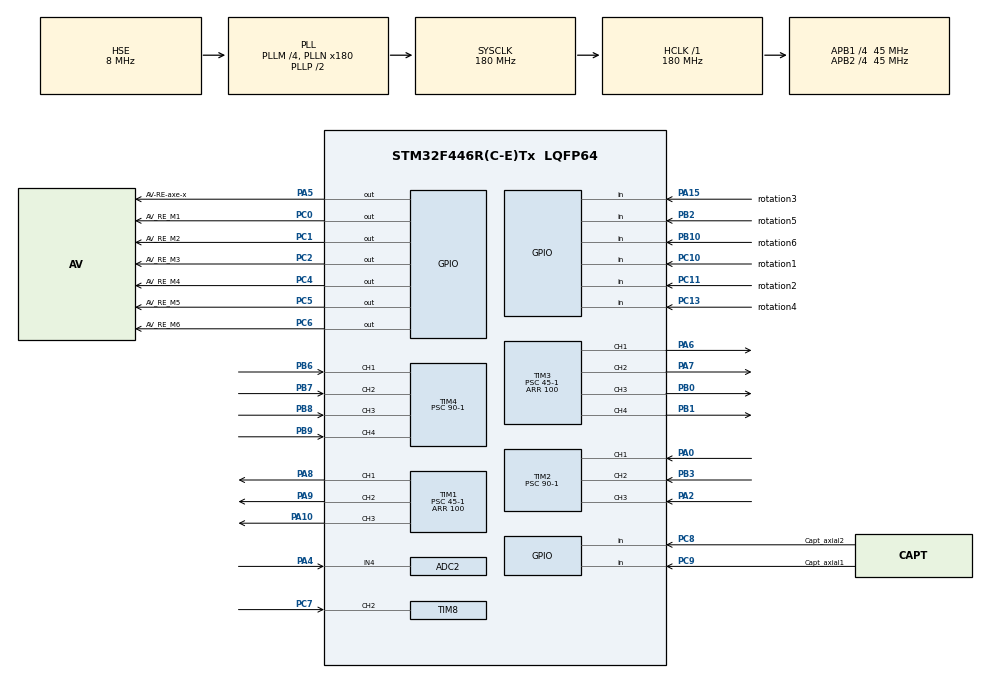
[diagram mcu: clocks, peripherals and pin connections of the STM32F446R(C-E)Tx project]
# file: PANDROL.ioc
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ADC2.Channel-5\#ChannelRegularConversion=ADC_CHANNEL_4
ADC2.ContinuousConvMode=ENABLE
ADC2.DMAContinuousRequests=ENABLE
ADC2.NbrOfConversionFlag=1
ADC2.Rank-5\#ChannelRegularConversion=1
ADC2.SamplingTime-5\#ChannelRegularConversion=ADC_SAMPLETIME_480CYCLES
Dma.ADC2.0.Direction=DMA_PERIPH_TO_MEMORY
Dma.ADC2.0.FIFOMode=DMA_FIFOMODE_DISABLE
Dma.ADC2.0.Instance=DMA2_Stream2
Dma.ADC2.0.MemDataAlignment=DMA_MDATAALIGN_WORD
Dma.ADC2.0.MemInc=DMA_MINC_ENABLE
Dma.ADC2.0.Mode=DMA_CIRCULAR
Dma.ADC2.0.PeriphDataAlignment=DMA_PDATAALIGN_WORD
Dma.ADC2.0.PeriphInc=DMA_PINC_DISABLE
Dma.ADC2.0.Priority=DMA_PRIORITY_LOW
Dma.Request0=ADC2
Mcu.Family=STM32F4
Mcu.Name=STM32F446R(C-E)Tx
Mcu.Package=LQFP64
NVIC.DMA2_Stream2_IRQn=true\:0\:0\:false\:false\:true\:false\:true\:true
NVIC.PriorityGroup=NVIC_PRIORITYGROUP_4
NVIC.TIM2_IRQn=true\:0\:0\:false\:false\:true\:true\:true\:true
NVIC.TIM4_IRQn=true\:0\:0\:false\:false\:true\:true\:true\:true
NVIC.TIM8_CC_IRQn=true\:0\:0\:false\:false\:true\:true\:true\:true
PA0-WKUP.GPIO_PuPd=GPIO_PULLDOWN
PA0-WKUP.GPIO_Speed=GPIO_SPEED_FREQ_HIGH
PA0-WKUP.Signal=S_TIM2_CH1_ETR
PA10.GPIO_PuPd=GPIO_PULLDOWN
PA10.GPIO_Speed=GPIO_SPEED_FREQ_HIGH
PA10.Signal=S_TIM1_CH3
PA15.GPIO_Label=rotation3
PA15.Signal=GPIO_Input
PA2.Signal=S_TIM2_CH3
PA4.Signal=ADCx_IN4
PA5.GPIO_Label=AV-RE-axe-x
PA5.GPIO_Speed=GPIO_SPEED_FREQ_HIGH
PA5.Signal=GPIO_Output
PA6.GPIO_PuPd=GPIO_PULLDOWN
PA6.GPIO_Speed=GPIO_SPEED_FREQ_HIGH
PA6.Signal=S_TIM3_CH1
PA7.GPIO_PuPd=GPIO_PULLDOWN
PA7.GPIO_Speed=GPIO_SPEED_FREQ_HIGH
PA7.Signal=S_TIM3_CH2
PA8.GPIO_PuPd=GPIO_PULLDOWN
PA8.GPIO_Speed=GPIO_SPEED_FREQ_HIGH
PA8.Signal=S_TIM1_CH1
PA9.GPIO_PuPd=GPIO_PULLDOWN
PA9.GPIO_Speed=GPIO_SPEED_FREQ_HIGH
PA9.Signal=S_TIM1_CH2
PB0.GPIO_PuPd=GPIO_PULLDOWN
PB0.GPIO_Speed=GPIO_SPEED_FREQ_HIGH
PB0.Signal=S_TIM3_CH3
PB1.GPIO_PuPd=GPIO_PULLDOWN
PB1.GPIO_Speed=GPIO_SPEED_FREQ_HIGH
PB1.Signal=S_TIM3_CH4
PB10.GPIO_Label=rotation6
PB10.Signal=GPIO_Input
PB2.GPIO_Label=rotation5
PB2.Signal=GPIO_Input
PB3.Signal=S_TIM2_CH2
PB6.GPIO_PuPd=GPIO_PULLDOWN
PB6.GPIO_Speed=GPIO_SPEED_FREQ_HIGH
PB6.Signal=S_TIM4_CH1
PB7.GPIO_PuPd=GPIO_PULLDOWN
PB7.GPIO_Speed=GPIO_SPEED_FREQ_HIGH
PB7.Signal=S_TIM4_CH2
PB8.GPIO_PuPd=GPIO_PULLDOWN
PB8.GPIO_Speed=GPIO_SPEED_FREQ_HIGH
PB8.Signal=S_TIM4_CH3
PB9.GPIO_PuPd=GPIO_PULLDOWN
PB9.GPIO_Speed=GPIO_SPEED_FREQ_HIGH
PB9.Signal=S_TIM4_CH4
PC0.GPIO_Label=AV_RE_M1
PC0.GPIO_Speed=GPIO_SPEED_FREQ_HIGH
PC0.Signal=GPIO_Output
PC1.GPIO_Label=AV_RE_M2
PC1.GPIO_Speed=GPIO_SPEED_FREQ_HIGH
PC1.Signal=GPIO_Output
PC10.GPIO_Label=rotation1
PC10.Signal=GPIO_Input
PC11.GPIO_Label=rotation2
PC11.Signal=GPIO_Input
PC13.GPIO_Label=rotation4
PC13.Signal=GPIO_Input
PC2.GPIO_Label=AV_RE_M3
PC2.GPIO_Speed=GPIO_SPEED_FREQ_HIGH
PC2.Signal=GPIO_Output
PC4.GPIO_Label=AV_RE_M4
PC4.GPIO_Speed=GPIO_SPEED_FREQ_HIGH
PC4.Signal=GPIO_Output
PC5.GPIO_Label=AV_RE_M5
PC5.GPIO_Speed=GPIO_SPEED_FREQ_HIGH
PC5.Signal=GPIO_Output
PC6.GPIO_Label=AV_RE_M6
PC6.GPIO_Speed=GPIO_SPEED_FREQ_HIGH
PC6.Signal=GPIO_Output
PC7.GPIO_PuPd=GPIO_PULLDOWN
PC7.GPIO_Speed=GPIO_SPEED_FREQ_HIGH
PC7.Signal=S_TIM8_CH2
PC8.GPIO_Label=Capt_axial2
PC8.Signal=GPIO_Input
PC9.GPIO_Label=Capt_axial1
PC9.Signal=GPIO_Input
PH0-OSC_IN.Mode=HSE-External-Oscillator
PH0-OSC_IN.Signal=RCC_OSC_IN
PH1-OSC_OUT.Mode=HSE-External-Oscillator
PH1-OSC_OUT.Signal=RCC_OSC_OUT
ProjectManager.HeapSize=0x200
ProjectManager.StackSize=0x400
ProjectManager.TargetToolchain=STM32CubeIDE
RCC.AHBFreq_Value=180000000
RCC.APB1CLKDivider=RCC_HCLK_DIV4
RCC.APB1Freq_Value=45000000
RCC.APB1TimFreq_Value=90000000
RCC.APB2CLKDivider=RCC_HCLK_DIV4
RCC.APB2Freq_Value=45000000
RCC.APB2TimFreq_Value=90000000
RCC.CortexFreq_Value=180000000
RCC.HCLKFreq_Value=180000000
RCC.HSE_VALUE=8000000
RCC.PLLM=4
RCC.PLLN=180
RCC.PLLSourceVirtual=RCC_PLLSOURCE_HSE
RCC.SYSCLKFreq_VALUE=180000000
RCC.SYSCLKSource=RCC_SYSCLKSOURCE_PLLCLK
RCC.USBFreq_Value=180000000
RCC.VCOOutputFreq_Value=360000000
SH.ADCx_IN4.0=ADC2_IN4,IN4
SH.S_TIM1_CH1.0=TIM1_CH1,PWM Generation1 CH1
SH.S_TIM1_CH2.0=TIM1_CH2,PWM Generation2 CH2
SH.S_TIM1_CH3.0=TIM1_CH3,PWM Generation3 CH3
SH.S_TIM2_CH1_ETR.0=TIM2_CH1,Input_Capture1_from_TI1
SH.S_TIM2_CH2.0=TIM2_CH2,Input_Capture2_from_TI2
SH.S_TIM2_CH3.0=TIM2_CH3,Input_Capture3_from_TI3
SH.S_TIM3_CH1.0=TIM3_CH1,PWM Generation1 CH1
SH.S_TIM3_CH2.0=TIM3_CH2,PWM Generation2 CH2
SH.S_TIM3_CH3.0=TIM3_CH3,PWM Generation3 CH3
SH.S_TIM3_CH4.0=TIM3_CH4,PWM Generation4 CH4
SH.S_TIM4_CH1.0=TIM4_CH1,Input_Capture1_from_TI1
SH.S_TIM4_CH2.0=TIM4_CH2,Input_Capture2_from_TI2
SH.S_TIM4_CH3.0=TIM4_CH3,Input_Capture3_from_TI3
SH.S_TIM4_CH4.0=TIM4_CH4,Input_Capture4_from_TI4
SH.S_TIM8_CH2.0=TIM8_CH2,Input_Capture2_from_TI2
TIM1.Channel-PWM\ Generation1\ CH1=TIM_CHANNEL_1
TIM1.Channel-PWM\ Generation2\ CH2=TIM_CHANNEL_2
TIM1.Channel-PWM\ Generation3\ CH3=TIM_CHANNEL_3
TIM1.Period=100
TIM1.Prescaler=45-1
TIM2.Channel-Input_Capture1_from_TI1=TIM_CHANNEL_1
TIM2.Channel-Input_Capture2_from_TI2=TIM_CHANNEL_2
TIM2.Channel-Input_Capture3_from_TI3=TIM_CHANNEL_3
TIM2.ClockDivision=TIM_CLOCKDIVISION_DIV2
TIM2.ICFilter_CH1=15
TIM2.ICFilter_CH2=15
TIM2.ICFilter_CH3=15
TIM2.ICPrescaler-Input_Capture1_from_TI1=TIM_ICPSC_DIV1
TIM2.Prescaler=90-1
TIM3.Channel-PWM\ Generation1\ CH1=TIM_CHANNEL_1
TIM3.Channel-PWM\ Generation2\ CH2=TIM_CHANNEL_2
TIM3.Channel-PWM\ Generation3\ CH3=TIM_CHANNEL_3
TIM3.Channel-PWM\ Generation4\ CH4=TIM_CHANNEL_4
TIM3.Period=100
TIM3.Prescaler=45-1
TIM4.Channel-Input_Capture1_from_TI1=TIM_CHANNEL_1
TIM4.Channel-Input_Capture2_from_TI2=TIM_CHANNEL_2
TIM4.Channel-Input_Capture3_from_TI3=TIM_CHANNEL_3
TIM4.Channel-Input_Capture4_from_TI4=TIM_CHANNEL_4
TIM4.ClockDivision=TIM_CLOCKDIVISION_DIV2
TIM4.ICFilter_CH1=15
TIM4.ICFilter_CH2=15
TIM4.ICFilter_CH3=15
TIM4.ICFilter_CH4=15
TIM4.Prescaler=90-1
TIM8.Channel-Input_Capture2_from_TI2=TIM_CHANNEL_2
TIM8.ClockDivision=TIM_CLOCKDIVISION_DIV2
TIM8.ICFilter_CH2=15
TIM8.Prescaler=90-1
VP_TIM1_VS_ClockSourceINT.Mode=Internal
VP_TIM3_VS_ClockSourceINT.Mode=Internal
board=custom

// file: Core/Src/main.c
/* USER CODE BEGIN Header */
/**
  ******************************************************************************
  * @file           : main.c
  * @brief          : Main program body
  ******************************************************************************
  * @attention
  *
  * Copyright (c) 2023 STMicroelectronics.
  * All rights reserved.
  *
  * This software is licensed under terms that can be found in the LICENSE file
  * in the root directory of this software component.
  * If no LICENSE file comes with this software, it is provided AS-IS.
  *
  ******************************************************************************
  */
/* USER CODE END Header */
#include "main.h"
#include "adc.h"
#include "dma.h"
#include "tim.h"
#include "gpio.h"

/* USER CODE BEGIN Includes */
#include "asservissement.h"
#include "interruption.h"
#include "math.h"
#include "stdlib.h"
#include "stdio.h"
/* USER CODE END Includes */

/* USER CODE BEGIN PD */

#define frequencyM1     1000/(periodMotor1)    // FREQUENCE DU L ENCODEUR 1
#define frequencyM2     1000/(periodMotor2)    // FREQUENCE DU L ENCODEUR 2
#define frequencyM3     1000/(periodMotor3)    // FREQUENCE DU L ENCODEUR 3
#define frequencyM4     1000/(periodMotor4)    // FREQUENCE DU L ENCODEUR 4
#define frequencyM5     1000/(periodMotor5)    // FREQUENCE DU L ENCODEUR 5
#define frequencyM6     1000/(periodMotor6)    // FREQUENCE DU L ENCODEUR 6
#define   Vmax           30
#define   Vmin           17

/* USER CODE END PD */

void SystemClock_Config(void);
/* USER CODE BEGIN PFP */
void moveTo( double pos1,double pos2,double pos3);                  // FONCTION POUR AVANCER ET RECULER LES VERINS
void roundpulse(double *C1,double *C2,double *C3);                // ROUND DES COURSES
void convert_Frompolar_Tocourse(double x, double y, double alpha);//COORDONNEE POLAIRE TO COURSE
void Commander_Moteuraxial();               // MOUVEMENT AXIAL DU MOTEUR SELON LES DEUX CAPTEUR
void ConvertMM_topulse(double *C1,double *C2,double *C3);
void determinerVecteurTEMPS( double *pos11,double *pos22,double *pos33 );
void zerodefine();
void Position_Zero(double pos3);
//definitions des vitesses exp speedMotor1-->vitesse du moteur 1
float speedMotor1=0;
float speedMotor2=0;
float speedMotor3=0;
float speedMotor4=0;
float speedMotor5=0;
float speedMotor6=0;
float vitesseRef1 =20  ;            // VITESSE DE REFERNCE POUR L ASSERVISSEMENT 90
float vitesseRef3 =25;
float vitesseRef2 =20;
//definitions des periodes entre deux fronts montant periodMotor1
uint16_t periodMotor1=0;
uint16_t periodMotor2=0;
uint16_t periodMotor3=0;
uint16_t periodMotor4=0;
uint16_t periodMotor5=0;
uint16_t periodMotor6=0;

/* USER CODE END 0 */
volatile float Is_First_Captured1=0;// VARIABLE POUR TESTER SILE FRONT MONTANT DU L ENCODEUR 1 EST DETECTE
volatile float Is_First_Captured2=0;// VARIABLE POUR TESTER SILE FRONT MONTANT DU L ENCODEUR 2 EST DETECTE
volatile float Is_First_Captured3=0;// VARIABLE POUR TESTER SILE FRONT MONTANT DU L ENCODEUR 3 EST DETECTE
volatile float Is_First_Captured4=0;// VARIABLE POUR TESTER SILE FRONT MONTANT DU L ENCODEUR 4 EST DETECTE
volatile float Is_First_Captured5=0;// VARIABLE POUR TESTER SILE FRONT MONTANT DU L ENCODEUR 5 EST DETECTE
volatile float Is_First_Captured6=0;// VARIABLE POUR TESTER SILE FRONT MONTANT DU L ENCODEUR 6 EST DETECTE

volatile int IC1_Val1=0;        //VARIABLE POUR STOCKER LA VALEUR DU  FRONT MONTANT DU L ENCODEUR 1
volatile int IC2_Val1=0;        //VARIABLE POUR STOCKER LA VALEUR DU  FRONT MONTANT DU L ENCODEUR 2
volatile int IC3_Val1=0;        //VARIABLE POUR STOCKER LA VALEUR DU  FRONT MONTANT DU L ENCODEUR 3
volatile int IC4_Val1=0;        //VARIABLE POUR STOCKER LA VALEUR DU  FRONT MONTANT DU L ENCODEUR 4
volatile int IC5_Val1=0;        //VARIABLE POUR STOCKER LA VALEUR DU  FRONT MONTANT DU L ENCODEUR 5
volatile int IC6_Val1=0;        //VARIABLE POUR STOCKER LA VALEUR DU  FRONT MONTANT DU L ENCODEUR 6

uint32_t readValue;
uint32_t temp;

int CountM1=0;      // NOMBRE D IMPULSION ENCODEUR 1
int CountM2=0;      // NOMBRE D IMPULSION ENCODEUR 2
int CountM3=0;      // NOMBRE D IMPULSION ENCODEUR 3
int CountM4=0;      // NOMBRE D IMPULSION ENCODEUR 4
int CountM5=0;      // NOMBRE D IMPULSION ENCODEUR 5
int CountM6=0;      // NOMBRE D IMPULSION ENCODEUR 6
int COUNTR1=0;
int COUNTR2=0;

char data,data1;
int flag=0;
char dta='k'; // A ENVOYER VER LE PC POUR CONNECTER A PRONTERFACE
const float PI=3.141593;
double pos1;
double pos2;
double pos3;
// Global variable to store the previous CountM1 value
float t1;
float t2;
float t3;
float resultats;
double poszero1;
double poszero2;
double poszero3;
char tab[16]={};
float c=3;
float current;
float sensitivity =0.066;
uint32_t moyenne = 0;
/* USER CODE END PFP */

/* USER CODE BEGIN 0 */

void HAL_TIM_IC_CaptureCallback(TIM_HandleTypeDef *htim)
{
	  if(htim->Instance==TIM2)
	  {
		  if(htim->Channel == HAL_TIM_ACTIVE_CHANNEL_1)// MOTEUR 1

		  	{
			    Interruption_1();
                // CountM1++;

				if (Is_First_Captured1 == 0)
					{

					  IC1_Val1=HAL_GetTick();
					  Is_First_Captured1++;

					}
		  		else if (Is_First_Captured1 == 1)
					{
					  periodMotor1 = HAL_GetTick()-IC1_Val1;//periode1
					  if(periodMotor1!=0)
					  {
					    speedMotor1 = frequencyM1;

					  }
					  Is_First_Captured1 = 0;

					}

		  	}if(htim->Channel == HAL_TIM_ACTIVE_CHANNEL_2)// ROULEAU1 PB3

		  	     {
		  		COUNTR1++;
                 }
		  	if(htim->Channel == HAL_TIM_ACTIVE_CHANNEL_3)// ROULEAU2 PA2

     		    	{
                	 COUNTR2++;

                      }

	  }

		  if(htim->Instance==TIM8)
		 	 {
		             if(htim->Channel == HAL_TIM_ACTIVE_CHANNEL_2)// MOTEUR 2

		  	            {
						 Initerruption_2();
		            	 //CountM2+=1;

						  if (Is_First_Captured2 == 0)
							{
								IC2_Val1=HAL_GetTick();
								Is_First_Captured2++;
							}
							else if (Is_First_Captured2 == 1)
							{
								periodMotor2 = HAL_GetTick()-IC2_Val1;//periode1
								if(periodMotor2!=0)
								{
								speedMotor2 = frequencyM2;
								}

								Is_First_Captured2 = 0;

							}

						  }

	                }

	  if(htim->Instance==TIM4)

	  {

            if(htim->Channel == HAL_TIM_ACTIVE_CHANNEL_1)	//MOTEUR3

				{
				Interruption_3();
  	 //CountM3++;

					if (Is_First_Captured3 == 0)
						{
							IC3_Val1=HAL_GetTick();
							Is_First_Captured3++;
						}
					else if (Is_First_Captured3 == 1)
						{
							periodMotor3 = HAL_GetTick()-IC3_Val1;//periode1
							if(periodMotor3!=0)
							{
							  speedMotor3 = frequencyM3;
							}
							Is_First_Captured3 = 0;

						}

				}

	  		if(htim->Channel==HAL_TIM_ACTIVE_CHANNEL_2)//MOTEUR4
	  			  {
	  			     Interruption_4();
	  			//CountM4++;

					   if (Is_First_Captured4 == 0)
						   {
								IC4_Val1=HAL_GetTick();
								//timestamp1C1 = HAL_GetTick();
								Is_First_Captured4++;
						   }
						else if (Is_First_Captured4== 1)
							{
								periodMotor4 = HAL_GetTick()-IC4_Val1;//periode1periode1*0.5 both edge
							    if(periodMotor4!=0)
							    {
								  speedMotor4 = frequencyM4;
								}
								Is_First_Captured4 = 0;

							}

					}

	  		if(htim->Channel==HAL_TIM_ACTIVE_CHANNEL_3)//MOTEUR5
				{
				     Interruption_5();
	  			 //CountM5++;

					 if (Is_First_Captured5 == 0)
						{
							IC5_Val1=HAL_GetTick();
							//timestamp1C1 = HAL_GetTick();
							Is_First_Captured5++;
						}
					 else if (Is_First_Captured5== 1)
						{
							periodMotor5 = HAL_GetTick()-IC5_Val1;//periode1
							if(periodMotor5!=0)
							{
							  speedMotor5 = frequencyM5;
							}
							Is_First_Captured5 = 0;

						}

				}
	  		if(htim->Channel==HAL_TIM_ACTIVE_CHANNEL_4)//MOTEUR6
				{
					Interruption_6();
	  			//  CountM6++;

					if (Is_First_Captured6 == 0)
					{
						IC6_Val1=HAL_GetTick();
						//timestamp1C1 = HAL_GetTick();
						Is_First_Captured6++;
					}
					else if (Is_First_Captured6== 1)
						{
							periodMotor6 = HAL_GetTick()-IC6_Val1;//periode1periode1*0.5 both edge
						    if(periodMotor6!=0)
						    {
							  speedMotor6 =frequencyM6;
						    }
							Is_First_Captured6 = 0;

						}

	  			 }

	  	}

}

void HAL_ADC_ConvCpltCallback(ADC_HandleTypeDef* hadc)
{
	 if (hadc->Instance == ADC2)
	  {

		 //valeurACS712();
      //current=readValue *3.30/ 4095;
		 current = (( readValue*3.30/ 4095)-1.63)/0.066;
		  if(current < 0) current=-current;

		 //c =abs(rawVoltage - 1.63)/0.066;

	  }

}

void roundpulse(double *C1,double *C2,double *C3)
{
	*C1=round(*C1);
	*C2=round(*C2);
	*C3=round(*C3);
}
void ConvertMM_topulse(double *C1,double *C2,double *C3)
{
	*C1=(*C1)*12.50;
	*C2=(*C2)*12.50;
	*C3=(*C3)*9.50;

}
void determinerVecteurTEMPS( double *pos11,double *pos22,double *pos33 ) {

t1=*pos11/vitesseRef1;

t2=*pos22/vitesseRef2;

t3=*pos33/vitesseRef3;
resultats= (t2+t3+t1)/3;
    }
///////////////////////////////////////////////////////////////////////////////////////////
void moveTo( double x,double y,double alpha ){

vitesseRef1=20;
vitesseRef2=20;
vitesseRef3=20;
poszero1=pos1;
poszero2=pos2;
poszero3=pos3;

convert_Frompolar_Tocourse(x, y, alpha);//retourner pos1 POS2 POS3 en mm

if ((pos1 == 0 && pos3 == 0) && pos2 == 0) {
    vitesseRef1 = ceil(poszero1 / resultats);
    vitesseRef2 = ceil(poszero2 / resultats);
    vitesseRef3 = ceil(poszero3 / resultats);
} else {
    ConvertMM_topulse(&pos1, &pos2, &pos3);
    roundpulse(&pos1, &pos2, &pos3);
    determinerVecteurTEMPS(&pos1, &pos2, &pos3);

    vitesseRef1 = ceil(pos1 / resultats);
    vitesseRef2 = ceil(pos2 / resultats);
    vitesseRef3 = ceil(pos3 / resultats);
}

vitesseRef1 = (vitesseRef1 > Vmax) ? Vmax : (vitesseRef1 < Vmin) ? Vmin : vitesseRef1;
vitesseRef2 = (vitesseRef2 > Vmax) ? Vmax : (vitesseRef2 < Vmin) ? Vmin : vitesseRef2;
vitesseRef3 = (vitesseRef3 > Vmax) ? Vmax : (vitesseRef3 < Vmin) ? Vmin : vitesseRef3;

////////////////////////////////////////
while (( (pos2>CountM1)||(pos2>CountM2)||(pos2-CountM1<0)||(pos2-CountM2<0) ||
		(pos1>CountM3)||(pos1>CountM4)||(pos1-CountM3<0)||(pos1-CountM4<0) ||
		(pos3>CountM5)||(pos3>CountM6)||(pos3-CountM5<0)||(pos3-CountM6<0) ))

{
	 //////////////////////////////////////////////////////////MOTEUR1

		 if  ( pos2 -CountM1>0)//>=0.4
		   {

			 HAL_GPIO_WritePin(GPIOC,  AV_RE_M1_Pin, RESET);
			  Regulation_Mt1(speedMotor1, speedMotor2, vitesseRef2, 21);

		   }

		  else if (( pos2 - CountM1   )<0   )//<=-0.5
				{

			  HAL_GPIO_WritePin(GPIOC,  AV_RE_M1_Pin, SET);

			Regulation_Mt1(speedMotor1, speedMotor2, vitesseRef2, 21);

				}

		  else
			{
			  TIM1->CCR1=0;

			}

	///////////////////////////////////////////////////MOTEUR2

		if  (pos2- CountM2>0 )//>=0.4
		   {

			HAL_GPIO_WritePin(GPIOC,  AV_RE_M2_Pin, RESET);
		    Regulation_Mt2(speedMotor2, speedMotor1,vitesseRef2, 21);

		   }else if (( pos2 - CountM2   )<0   )//<=-0.5
				{

			   HAL_GPIO_WritePin(GPIOC,  AV_RE_M2_Pin, SET);

				Regulation_Mt2(speedMotor2, speedMotor1,vitesseRef2, 21);

			    }
		   else
			    {
				 TIM1->CCR2=0;

			    }

	///////////////////////////////////////////////////////////MOTEUR3

			if (pos1 - CountM3 > 0)
			  {

				HAL_GPIO_WritePin(GPIOC, AV_RE_M3_Pin, RESET);

				Regulation_Mt3(  speedMotor3,   speedMotor4, vitesseRef1, 21);
				  //TIM1->CCR3=80;
			   } else if (pos1 - CountM3 < 0)
					   {

				   HAL_GPIO_WritePin(GPIOC, AV_RE_M3_Pin, SET);
				  Regulation_Mt3(  speedMotor3, speedMotor4, vitesseRef1, 21);

			   } else {

				   TIM1->CCR3 = 0;
			   }
/////////////////////////////////////////////////////////////////////////////////MT4

		   if (pos1 - CountM4 > 0)
		   {

			  HAL_GPIO_WritePin(GPIOC, AV_RE_M4_Pin, RESET);

			 Regulation_Mt4(speedMotor4, speedMotor3, vitesseRef1, 21);

		   }
		   else if (pos1 - CountM4 < 0)
		   {

			  HAL_GPIO_WritePin(GPIOC, AV_RE_M4_Pin, SET);

			  Regulation_Mt4(speedMotor4, speedMotor3, vitesseRef1, 21);

		   } else
		   {
			   TIM3->CCR1 = 0;
		   }

	///////////////////////////////////////////////////MOTEUR5

	if (pos3 - CountM5 > 0) {

		HAL_GPIO_WritePin(GPIOC, AV_RE_M5_Pin, RESET);

		  Regulation_Mt5(speedMotor5, speedMotor6, vitesseRef3, 21);

	    } else if (pos3 - CountM5 < 0) {

	    	  HAL_GPIO_WritePin(GPIOC, AV_RE_M5_Pin, SET);
			  Regulation_Mt5(speedMotor5, speedMotor6, vitesseRef3, 21);

	    } else {
	        TIM3->CCR2 = 0;
	    }

////////////////////////////////////////////////////////////////////MT6
	    if (pos3 - CountM6 > 0) {

	    	HAL_GPIO_WritePin(GPIOC, AV_RE_M6_Pin, RESET);
			Regulation_Mt6(speedMotor6, speedMotor5, vitesseRef3, 21);

	    }
	    else if (pos3 - CountM6 < 0)
	    {

	      HAL_GPIO_WritePin(GPIOC, AV_RE_M6_Pin, SET);
		  Regulation_Mt6(speedMotor6, speedMotor5, vitesseRef3, 21);

	    } else
	    {
	        TIM3->CCR3 = 0;
	    }

}
////////////////////////////////////////////////////////////////////////////
   TIM1->CCR1 = (pos2 - CountM1 == 0) ? 0 : TIM1->CCR1;
   TIM1->CCR2 = (pos2 - CountM2 == 0) ? 0 : TIM1->CCR2;

	 			if  (( pos1  -CountM3  )==0 )
				   {
					  TIM1->CCR3=0;

				   }
				if  (( pos1  -CountM4 )==0 )
				   {
					TIM3->CCR1 =0;

					}
				if  (( pos3  -CountM5  )==0 )
				    {
					 TIM3->CCR2=0;

					 }
				if  (( pos3 -CountM6  )==0 )
					 {
					TIM3->CCR3 =0;

					 }
}

void convert_Frompolar_Tocourse(double x, double y, double alpha){

alpha=PI*alpha/180;// angle radian
pos1=sqrt(pow(x+185*sin(alpha)-63*cos(alpha),2)+pow(y+185*cos(alpha)+63*sin(alpha),2))-356;// EQUATION COURSE1
pos2=sqrt(pow(x+185*sin(alpha)-63*cos(alpha)+100,2)+pow(y+185*cos(alpha)+63*sin(alpha),2))-356;//EQUATION COURSE 2
pos3=sqrt(pow(x+185*sin(alpha)+63*cos(alpha)-100,2)+pow(y+185*cos(alpha)-63*sin(alpha),2))-356;// EQUATION COURSE3
if(pos1<0){pos1=0;}// MOUVE TO ZERO POSITION (x	=0 y=0 alpha=0) donne des resultats negative de course
if(pos2<0){pos2=0;}// MOUVE TO ZERO POSITION (x	=0 y=0 alpha=0) donne des resultats negative de course
if(pos3<0){pos3=0;}// MOUVE TO ZERO POSITION (x	=0 y=0 alpha=0) donne des resultats negative de course

}

void Commander_Moteuraxial(){

	 int v1 = HAL_GPIO_ReadPin(GPIOC, Capt_axial1_Pin);
	 int v2 = HAL_GPIO_ReadPin(GPIOC, Capt_axial2_Pin);

	   if(v1==GPIO_PIN_SET )
	   {

		  HAL_GPIO_WritePin(GPIOA,  AV_RE_axe_x_Pin, RESET);
		  TIM3->CCR4=50;

	    }else if (v2 ==GPIO_PIN_SET)
	    {
	  		HAL_GPIO_WritePin(GPIOA,  AV_RE_axe_x_Pin, SET);
			TIM3->CCR4=50;

	    }

}
void zerodefine(){
    moveTo(0, -605, 0);

    while(current<1.2 )
            {
        Regulation_Mt6(speedMotor6, speedMotor5, 11, 21);
        Regulation_Mt5(speedMotor5, speedMotor6, 11, 21);
        Regulation_Mt1(speedMotor1, speedMotor2, vitesseRef1, 21) ;
        Regulation_Mt2(speedMotor2, speedMotor1, vitesseRef1, 21);
        Regulation_Mt3(speedMotor3, speedMotor4, vitesseRef2, 21);
        Regulation_Mt4(speedMotor4, speedMotor3, vitesseRef2, 21);

        	}

    	TIM1->CCR1 =0; //MT1
    	TIM1->CCR2 =0;//MT2
    	TIM1->CCR3 =0;//MT3

    	TIM3->CCR1 =0;//MT4
    	TIM3->CCR2 =0;//MT5
    	TIM3->CCR3 =0;//MT6

	}

/* USER CODE END 0 */

int main(void)
{

  /* MCU Configuration--------------------------------------------------------*/

  /* Reset of all peripherals, Initializes the Flash interface and the Systick. */
  HAL_Init();

  /* Configure the system clock */
  SystemClock_Config();

  /* Initialize all configured peripherals */
  MX_GPIO_Init();
  MX_DMA_Init();
  MX_TIM1_Init();
  MX_TIM2_Init();
  MX_TIM3_Init();
  MX_TIM4_Init();
  MX_TIM8_Init();
  MX_ADC2_Init();
  /* USER CODE BEGIN 2 */
  // start the adc

HAL_TIM_PWM_Start(&htim1, TIM_CHANNEL_1);
HAL_TIM_PWM_Start(&htim1, TIM_CHANNEL_2);
HAL_TIM_PWM_Start(&htim1, TIM_CHANNEL_3);

HAL_TIM_PWM_Start(&htim3, TIM_CHANNEL_1);
HAL_TIM_PWM_Start(&htim3, TIM_CHANNEL_2);
HAL_TIM_PWM_Start(&htim3, TIM_CHANNEL_3);
//PB1
HAL_TIM_PWM_Start(&htim3, TIM_CHANNEL_4);
//PA1
HAL_TIM_PWM_Start(&htim12, TIM_CHANNEL_1);

TIM1->CCR1 =0; //MT1
TIM1->CCR2 =0;//MT2
TIM1->CCR3 =0;//MT3

TIM3->CCR1 =0;//MT4
TIM3->CCR2 =0;//MT5
TIM3->CCR3 =0;//MT6
TIM3->CCR4=0;// MOTEUR AXIAL
//moteur1
HAL_TIM_IC_Start_IT(&htim2, TIM_CHANNEL_1);//PA0 START INTERRUPTION
HAL_TIM_IC_Start_IT(&htim2, TIM_CHANNEL_3);//PA2 START INTERRUPTION
HAL_TIM_IC_Start_IT(&htim2, TIM_CHANNEL_2);//PB3 START INTERRUPTION

//moteur2
HAL_TIM_IC_Start_IT(&htim8, TIM_CHANNEL_2);//PC7

//moteur3
HAL_TIM_IC_Start_IT(&htim4, TIM_CHANNEL_1);//PB6
//moteur4
HAL_TIM_IC_Start_IT(&htim4, TIM_CHANNEL_2);//PB7
//moteur5
HAL_TIM_IC_Start_IT(&htim4, TIM_CHANNEL_3);//PB8
//moteur6
HAL_TIM_IC_Start_IT(&htim4, TIM_CHANNEL_4);//PB9

// BATTERY

HAL_ADC_Start_DMA(&hadc2, &readValue, 1);
  /* USER CODE END 2 */

  /* Infinite loop */
  while (1)
  {

    /* USER CODE BEGIN 3 */
	  TIM3->CCR4 =25; //MT1
	 	  TIM12->CCR1 =30; //MT1

    /* USER CODE BEGIN 3 */

}
    /* USER CODE BEGIN 3 */

  /* USER CODE END 3 */
}

void SystemClock_Config(void)
{
  RCC_OscInitTypeDef RCC_OscInitStruct = {0};
  RCC_ClkInitTypeDef RCC_ClkInitStruct = {0};

  /** Configure the main internal regulator output voltage
  */
  __HAL_RCC_PWR_CLK_ENABLE();
  __HAL_PWR_VOLTAGESCALING_CONFIG(PWR_REGULATOR_VOLTAGE_SCALE1);

  /** Initializes the RCC Oscillators according to the specified parameters
  * in the RCC_OscInitTypeDef structure.
  */
  RCC_OscInitStruct.OscillatorType = RCC_OSCILLATORTYPE_HSE;
  RCC_OscInitStruct.HSEState = RCC_HSE_ON;
  RCC_OscInitStruct.PLL.PLLState = RCC_PLL_ON;
  RCC_OscInitStruct.PLL.PLLSource = RCC_PLLSOURCE_HSE;
  RCC_OscInitStruct.PLL.PLLM = 4;
  RCC_OscInitStruct.PLL.PLLN = 180;
  RCC_OscInitStruct.PLL.PLLP = RCC_PLLP_DIV2;
  RCC_OscInitStruct.PLL.PLLQ = 2;
  RCC_OscInitStruct.PLL.PLLR = 2;
  if (HAL_RCC_OscConfig(&RCC_OscInitStruct) != HAL_OK)
  {
    Error_Handler();
  }

  /** Activate the Over-Drive mode
  */
  if (HAL_PWREx_EnableOverDrive() != HAL_OK)
  {
    Error_Handler();
  }

  /** Initializes the CPU, AHB and APB buses clocks
  */
  RCC_ClkInitStruct.ClockType = RCC_CLOCKTYPE_HCLK|RCC_CLOCKTYPE_SYSCLK
                              |RCC_CLOCKTYPE_PCLK1|RCC_CLOCKTYPE_PCLK2;
  RCC_ClkInitStruct.SYSCLKSource = RCC_SYSCLKSOURCE_PLLCLK;
  RCC_ClkInitStruct.AHBCLKDivider = RCC_SYSCLK_DIV1;
  RCC_ClkInitStruct.APB1CLKDivider = RCC_HCLK_DIV4;
  RCC_ClkInitStruct.APB2CLKDivider = RCC_HCLK_DIV4;

  if (HAL_RCC_ClockConfig(&RCC_ClkInitStruct, FLASH_LATENCY_5) != HAL_OK)
  {
    Error_Handler();
  }
}

void Error_Handler(void)
{
  __disable_irq();
  while (1)
  {
  }
}
